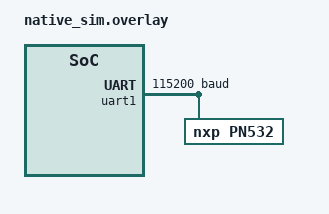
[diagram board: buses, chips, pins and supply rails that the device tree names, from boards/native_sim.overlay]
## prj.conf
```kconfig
# Copyright (c) 2026 Bayrem Gharsellaoui
# SPDX-License-Identifier: Apache-2.0

# Test
CONFIG_TEST=y
CONFIG_ZTEST=y

# PN532 NFC module
CONFIG_SERIAL=y
CONFIG_PN532=y
CONFIG_PN532_LOG_LEVEL=4
```

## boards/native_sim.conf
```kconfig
# Copyright (c) 2026 Bayrem Gharsellaoui
# SPDX-License-Identifier: Apache-2.0

# I/O redirect
CONFIG_UART_NATIVE_PTY_0_ON_STDINOUT=n

# GPIO emulation
CONFIG_GPIO=y
CONFIG_GPIO_EMUL=y
```

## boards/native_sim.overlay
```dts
/*
 * Copyright (c) 2026 Bayrem Gharsellaoui
 * SPDX-License-Identifier: Apache-2.0
 */

&uart1 {
    status = "okay";
    compatible = "zephyr,native-tty-uart";
    current-speed = <115200>;
    serial-port = "/dev/ttyUSB0";

    pn532 {
        compatible = "nxp,pn532";
        /* No IRQ or Reset pin used in native_sim */
    };
};
```

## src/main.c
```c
/*
 * Copyright (c) 2026 Bayrem Gharsellaoui
 * SPDX-License-Identifier: Apache-2.0
 */

#include <zephyr/kernel.h>
#include <zephyr/device.h>
#include <zephyr/ztest.h>

#include "pn532.h"

ZTEST_SUITE(pn532, NULL, NULL, NULL, NULL, NULL);

/**
 * @brief Test get firmware version for the PN532 driver
 */
ZTEST(pn532, test_get_firmware_version)
{
	const struct device *dev = DEVICE_DT_GET_ONE(nxp_pn532);
	struct pn532_fw_version version = {0};

	zassert_equal(-EINVAL, pn532_get_firmware_version(NULL, NULL));

	zassert_equal(-EINVAL, pn532_get_firmware_version(dev, NULL));

	zassert_equal(-EINVAL, pn532_get_firmware_version(NULL, &version));
	zassert_equal(0, version.ic);
	zassert_equal(0, version.ver);
	zassert_equal(0, version.rev);
}

/**
 * @brief Test in list passive target for the PN532 driver
 */
ZTEST(pn532, test_in_list_passive_target)
{
	zassert_equal(-EINVAL, pn532_in_list_passive_target(NULL));
}

/**
 * @brief Test in data exchange for the PN532 driver
 */
ZTEST(pn532, test_in_data_exchange)
{
	const struct device *dev = DEVICE_DT_GET_ONE(nxp_pn532);
	uint8_t send[] = {0xDE, 0xAD, 0xBE, 0xEF};
	uint8_t send_length = sizeof(send);
	uint8_t response[32] = {0};

	zassert_equal(-EINVAL, pn532_in_data_exchange(NULL, NULL, 0, NULL, NULL));

	zassert_equal(-EINVAL, pn532_in_data_exchange(dev, NULL, 0, NULL, NULL));

	zassert_equal(-EINVAL, pn532_in_data_exchange(dev, send, 0, NULL, NULL));

	zassert_equal(-EINVAL, pn532_in_data_exchange(dev, send, send_length, NULL, NULL));

	zassert_equal(-EINVAL, pn532_in_data_exchange(dev, send, send_length, response, NULL));
}

/**
 * @brief Test set serial baudrate for the PN532 driver
 */
ZTEST(pn532, test_set_serial_baudrate)
{
	const struct device *dev = DEVICE_DT_GET_ONE(nxp_pn532);

	zassert_equal(-EINVAL, pn532_set_serial_baudrate(NULL, 0));
	zassert_equal(-EINVAL, pn532_set_serial_baudrate(dev, 0));
}

/**
 * @brief Test GPIO write for the PN532 driver
 */
ZTEST(pn532, test_gpio_write)
{
	zassert_equal(-EINVAL, pn532_gpio_write(NULL, 0));
}

/**
 * @brief Test GPIO read for the PN532 driver
 */
ZTEST(pn532, test_gpio_read)
{
	zassert_equal(-EINVAL, pn532_gpio_read(NULL, NULL));
}
```
